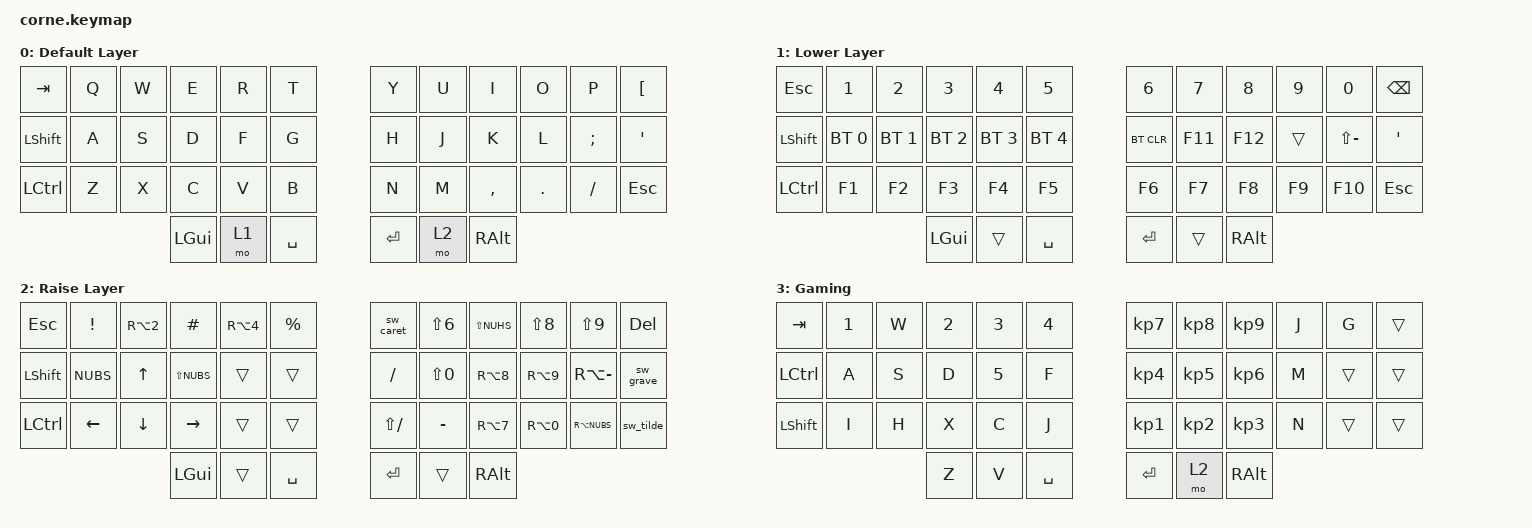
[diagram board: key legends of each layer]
/*
 * Copyright (c) 2020 The ZMK Contributors
 *
 * SPDX-License-Identifier: MIT
 */

// Corne Keyboard Configuration - Swedish Layout
// Layer 4 Gaming: Press RSE + RALT together to toggle

#include <behaviors.dtsi>
#include <dt-bindings/zmk/keys.h>
#include <dt-bindings/zmk/bt.h>

/ {
        combos {
                compatible = "zmk,combos";
                combo_layer4 {
                        timeout-ms = <50>;
                        key-positions = <40 41>;
                        bindings = <&tog 3>;
                };
        };

        // Dead-key symbols under a Swedish (sv-SE) OS layout: press the dead key
        // then space so the standalone diacritic character is produced.
        macros {
                sw_caret: sw_caret {
                        compatible = "zmk,behavior-macro";
                        #binding-cells = <0>;
                        bindings = <&kp LS(RBKT) &kp SPACE>;
                };
                sw_tilde: sw_tilde {
                        compatible = "zmk,behavior-macro";
                        #binding-cells = <0>;
                        bindings = <&kp RA(RBKT) &kp SPACE>;
                };
                sw_grave: sw_grave {
                        compatible = "zmk,behavior-macro";
                        #binding-cells = <0>;
                        bindings = <&kp LS(EQUAL) &kp SPACE>;
                };
        };

        keymap {
                compatible = "zmk,keymap";

                default_layer {
                        display-name = "Default Layer";
// -----------------------------------------------------------------------------------------
// |  TAB |  Q  |  W  |  E  |  R  |  T  |             |  Y  |  U   |  I  |  O  |  P  |  Å  |
// | SHFT |  A  |  S  |  D  |  F  |  G  |             |  H  |  J   |  K  |  L  |  ;  |  '  |
// | LCTRL|  Z  |  X  |  C  |  V  |  B  |             |  N  |  M   |  ,  |  .  |  /  | ESC |
//                    | GUI | LWR | SPC |             | ENT | RSE  | ALT |
                        bindings = <
   &kp TAB   &kp Q &kp W &kp E &kp R &kp T   &kp Y &kp U  &kp I     &kp O   &kp P    &kp LBKT
   &kp LSHFT &kp A &kp S &kp D &kp F &kp G   &kp H &kp J  &kp K     &kp L   &kp SEMI &kp SQT
   &kp LCTRL &kp Z &kp X &kp C &kp V &kp B   &kp N &kp M  &kp COMMA &kp DOT &kp FSLH &kp ESC
                  &kp LGUI &mo 1 &kp SPACE   &kp RET &mo 2 &kp RALT
                        >;
                };
                lower_layer {
                        display-name = "Lower Layer";
// -----------------------------------------------------------------------------------------
// |  ESC |  1  |  2  |  3  |  4  |  5  |             |  6  |  7  |  8  |  9  |  0  | BSPC |
// | SHFT | BT1 | BT2 | BT3 | BT4 | BT5 |             |BTCLR| F11 | F12 |     |QMARK|      |
// | LCTRL| F1  |  F2 |  F3 |  F4 |  F5 |             |  F6 |  F7 |  F8 |  F9 | F10 | ESC  |
//                    | GUI |     | SPC |             | ENT |     | ALT |
                        bindings = <
   &kp ESC    &kp N1       &kp N2       &kp N3       &kp N4       &kp N5         &kp N6     &kp N7   &kp N8  &kp N9    &kp N0     &kp BSPC
        &kp LSHFT  &bt BT_SEL 0 &bt BT_SEL 1 &bt BT_SEL 2 &bt BT_SEL 3 &bt BT_SEL 4   &bt BT_CLR &kp F11  &kp F12 &trans     &kp LS(MINUS)  &kp APOS
   &kp LCTRL  &kp F1       &kp F2       &kp F3       &kp F4       &kp F5         &kp F6     &kp F7   &kp F8  &kp F9    &kp F10    &kp ESC
                                        &kp LGUI     &trans       &kp SPACE      &kp RET    &trans   &kp RALT
                        >;
                };
                raise_layer {
                        display-name = "Raise Layer";
// Bindings below send the US HID keycode/modifier combo that a Swedish (sv-SE)
// OS keyboard layout maps to the symbol shown in the comment (plain &kp with
// US-named keycodes like AMPS/ASTRK/PIPE/TILDE produce the wrong character on
// sv-SE, since the OS remaps shift/AltGr differently than on a US layout).
// -----------------------------------------------------------------------------------------
// |  ESC |  !  |  @  |  #  |  $  |  %  |             |  ^  |  &  |  *  |  (  |  )  | DEL  |
// | SHFT |  LT |  UP |  GT |     |     |             |  -  |  =  |  [  |  ]  |  \  |  `   |
// | LCTRL| LFT | DWN | RGT |     |     |             |  _  |  +  |  {  |  }  | "|" |  ~   |
//                    | GUI |     | SPC |             | ENT |     | ALT |
                        bindings = <
   &kp  ESC  &kp EXCL &kp RA(N2) &kp HASH  &kp RA(N4) &kp PRCNT   &sw_caret     &kp LS(N6)   &kp LS(NUHS) &kp LS(N8) &kp LS(N9) &kp DEL
   &kp LSHFT &kp NUBS &kp UP     &kp LS(NUBS) &trans  &trans      &kp FSLH      &kp LS(N0)   &kp RA(N8)   &kp RA(N9) &kp RA(MINUS) &sw_grave
   &kp LCTRL &kp LEFT &kp DOWN   &kp RIGHT &trans     &trans      &kp LS(FSLH)  &kp MINUS    &kp RA(N7)   &kp RA(N0) &kp RA(NUBS)  &sw_tilde
                                &kp LGUI  &trans   &kp SPACE   &kp RET   &trans    &kp RALT
                        >;
                };

                layer4 {
                        display-name = "Gaming";
// -----------------------------------------------------------------------------------------
// | TAB  |  1  |  W  |  2  |  3  |  4  |             | NP7 | NP8 | NP9 |  J  |  G  |     |
// | CTRL |  A  |  S  |  D  |  5  |  F  |             | NP4 | NP5 | NP6 |  M  |     |     |
// | SHFT |  I  |  H  |  X  |  C  |  J  |             | NP1 | NP2 | NP3 |  N  |     |     |
//                    |  Z  |  V  | SPC |             | ENT | RSE | ALT |
                        bindings = <
   &kp TAB   &kp N1 &kp W  &kp N2 &kp N3 &kp N4     &kp KP_N7 &kp KP_N8 &kp KP_N9 &kp J     &kp G  &trans
   &kp LCTRL &kp A  &kp S  &kp D  &kp N5 &kp F      &kp KP_N4 &kp KP_N5 &kp KP_N6 &kp M     &trans &trans
   &kp LSHFT &kp I  &kp H  &kp X  &kp C  &kp J      &kp KP_N1 &kp KP_N2 &kp KP_N3 &kp N     &trans &trans
                           &kp Z  &kp V  &kp SPACE  &kp RET   &mo 2     &kp RALT
                        >;
                };
        };
};
